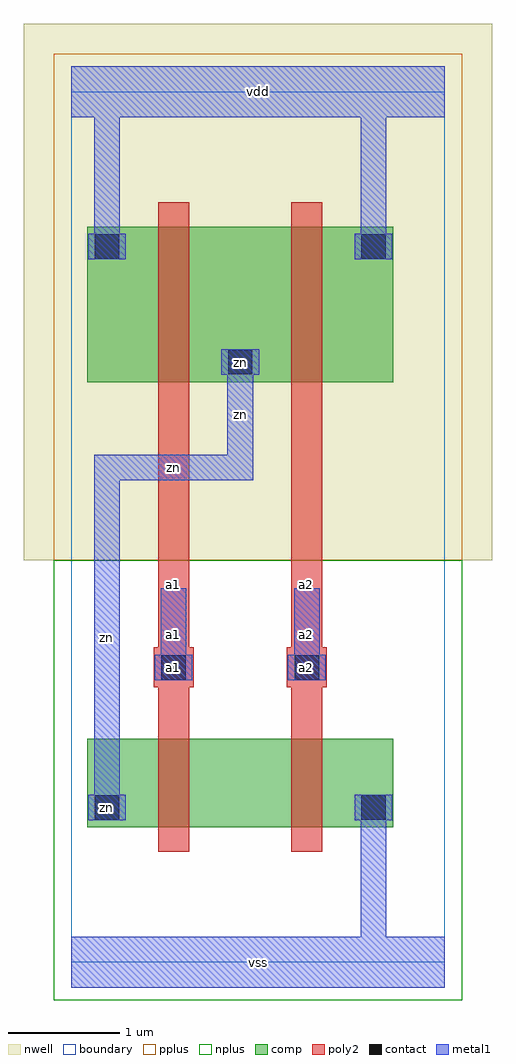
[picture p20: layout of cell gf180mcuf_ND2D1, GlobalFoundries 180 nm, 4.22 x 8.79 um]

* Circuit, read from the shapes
.subckt gf180mcuf_ND2D1 a1 a2 vdd vss zn
XM1 n1 a1 zn VSUBS nfet_03v3 w=0.8u l=0.28u
XM2 vss a2 n1 VSUBS nfet_03v3 w=0.8u l=0.28u
XM3 zn a1 vdd n2 pfet_03v3 w=1.4u l=0.28u
XM4 vdd a2 zn n2 pfet_03v3 w=1.4u l=0.28u
.ends

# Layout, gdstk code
import gdstk
lib = gdstk.Library(unit=1e-6, precision=1e-09)
def R(c, l, rs):  # rectangles x0, y0, x1, y1
    for r in rs: c.add(gdstk.rectangle(r[:2], r[2:], *l))
boundary = (0, 0)
nwell = (21, 0)
comp = (22, 0)
poly2 = (30, 0)
pplus = (31, 0)
nplus = (32, 0)
contact = (33, 0)
metal1 = (34, 0)

gf180mcuf_nd2d1 = lib.new_cell('gf180mcuf_ND2D1')
R(gf180mcuf_nd2d1, boundary, [(0,0,3.36,7.84)])
R(gf180mcuf_nd2d1, nwell, [(-0.43,3.62,3.79,8.45)])
R(gf180mcuf_nd2d1, comp, [(0.14,1.215,1.7,2.015), (0.14,1.215,0.5,1.575), (1.34,1.215,2.9,2.015), (2.54,1.215,2.9,1.575), (0.14,5.225,1.7,6.625), (1.34,5.225,2.9,6.625), (1.34,5.225,1.7,5.585), (0.14,6.265,0.5,6.625), (2.54,6.265,2.9,6.625)])
R(gf180mcuf_nd2d1, poly2, [(0.78,0.995,1.06,2.235), (1.98,0.995,2.26,2.235), (0.78,1.255,1.06,5.545), (1.98,1.255,2.26,5.545), (0.74,2.475,1.1,2.835), (1.94,2.475,2.3,2.835), (0.78,5.005,1.06,6.845), (1.98,5.005,2.26,6.845)])
R(gf180mcuf_nd2d1, pplus, [(-0.16,3.62,3.52,7.5), (-0.16,7.5,3.52,8.18)])
R(gf180mcuf_nd2d1, nplus, [(-0.16,-0.34,3.52,0.34), (-0.16,0.34,3.52,3.62)])
R(gf180mcuf_nd2d1, contact, [(0.21,1.285,0.43,1.505), (2.61,1.285,2.83,1.505), (0.81,2.545,1.03,2.765), (2.01,2.545,2.23,2.765), (1.41,5.295,1.63,5.515), (0.21,6.335,0.43,6.555), (2.61,6.335,2.83,6.555)])
R(gf180mcuf_nd2d1, metal1, [(0,-0.23,3.36,0.23), (2.605,0.065,2.835,1.51), (0.15,1.28,0.49,1.51), (0.205,1.28,0.435,4.57), (2.55,1.28,2.89,1.51), (0.75,2.54,1.09,2.77), (0.805,2.54,1.035,3.37), (1.95,2.54,2.29,2.77), (2.005,2.54,2.235,3.37), (0.205,4.34,1.635,4.57), (1.405,4.34,1.635,5.52), (1.35,5.29,1.69,5.52), (0.15,6.33,0.49,6.56), (0.205,6.33,0.435,7.775), (2.55,6.33,2.89,6.56), (2.605,6.33,2.835,7.775), (0,7.61,3.36,8.07)])
gf180mcuf_nd2d1.add(gdstk.FlexPath([(0.14,0.575),(2.9,0.575)], 0, ends="flush", simple_path=True, layer=0, datatype=0))  # boundary
gf180mcuf_nd2d1.add(gdstk.FlexPath([(0.14,1.395),(2.9,1.395)], 0, ends="flush", simple_path=True, layer=0, datatype=0))  # boundary
gf180mcuf_nd2d1.add(gdstk.FlexPath([(0.14,2.655),(2.9,2.655)], 0, ends="flush", simple_path=True, layer=0, datatype=0))  # boundary
gf180mcuf_nd2d1.add(gdstk.FlexPath([(0.14,3.255),(2.9,3.255)], 0, ends="flush", simple_path=True, layer=0, datatype=0))  # boundary
gf180mcuf_nd2d1.add(gdstk.FlexPath([(0.14,3.855),(2.9,3.855)], 0, ends="flush", simple_path=True, layer=0, datatype=0))  # boundary
gf180mcuf_nd2d1.add(gdstk.FlexPath([(0.14,4.455),(2.9,4.455)], 0, ends="flush", simple_path=True, layer=0, datatype=0))  # boundary
gf180mcuf_nd2d1.add(gdstk.FlexPath([(0.14,5.405),(2.9,5.405)], 0, ends="flush", simple_path=True, layer=0, datatype=0))  # boundary
gf180mcuf_nd2d1.add(gdstk.FlexPath([(0.14,6.445),(2.9,6.445)], 0, ends="flush", simple_path=True, layer=0, datatype=0))  # boundary
gf180mcuf_nd2d1.add(gdstk.FlexPath([(0.14,7.265),(2.9,7.265)], 0, ends="flush", simple_path=True, layer=0, datatype=0))  # boundary
gf180mcuf_nd2d1.add(gdstk.FlexPath([(0.32,0.065),(0.32,7.775)], 0, ends="flush", simple_path=True, layer=0, datatype=0))  # boundary
gf180mcuf_nd2d1.add(gdstk.FlexPath([(0.92,0.065),(0.92,7.775)], 0, ends="flush", simple_path=True, layer=0, datatype=0))  # boundary
gf180mcuf_nd2d1.add(gdstk.FlexPath([(1.52,0.065),(1.52,7.775)], 0, ends="flush", simple_path=True, layer=0, datatype=0))  # boundary
gf180mcuf_nd2d1.add(gdstk.FlexPath([(2.12,0.065),(2.12,7.775)], 0, ends="flush", simple_path=True, layer=0, datatype=0))  # boundary
gf180mcuf_nd2d1.add(gdstk.FlexPath([(2.72,0.065),(2.72,7.775)], 0, ends="flush", simple_path=True, layer=0, datatype=0))  # boundary
gf180mcuf_nd2d1.add(gdstk.Label('zn', (0.32,1.395), layer=22, texttype=0))
gf180mcuf_nd2d1.add(gdstk.Label('zn', (1.52,5.405), layer=22, texttype=0))
gf180mcuf_nd2d1.add(gdstk.Label('a1', (0.92,3.4), layer=30, texttype=0))
gf180mcuf_nd2d1.add(gdstk.Label('a1', (0.92,2.655), layer=30, texttype=0))
gf180mcuf_nd2d1.add(gdstk.Label('a2', (2.12,3.4), layer=30, texttype=0))
gf180mcuf_nd2d1.add(gdstk.Label('a2', (2.12,2.655), layer=30, texttype=0))
gf180mcuf_nd2d1.add(gdstk.Label('zn', (0.32,1.395), layer=33, texttype=0))
gf180mcuf_nd2d1.add(gdstk.Label('zn', (1.52,5.405), layer=33, texttype=0))
gf180mcuf_nd2d1.add(gdstk.Label('a1', (0.92,2.655), layer=33, texttype=0))
gf180mcuf_nd2d1.add(gdstk.Label('a2', (2.12,2.655), layer=33, texttype=0))
gf180mcuf_nd2d1.add(gdstk.Label('zn', (0.32,1.395), layer=34, texttype=10))
gf180mcuf_nd2d1.add(gdstk.Label('zn', (1.52,5.405), layer=34, texttype=10))
gf180mcuf_nd2d1.add(gdstk.Label('zn', (0.32,2.925), layer=34, texttype=10))
gf180mcuf_nd2d1.add(gdstk.Label('zn', (0.92,4.455), layer=34, texttype=10))
gf180mcuf_nd2d1.add(gdstk.Label('zn', (1.52,4.93), layer=34, texttype=10))
gf180mcuf_nd2d1.add(gdstk.Label('a1', (0.92,2.655), layer=34, texttype=10))
gf180mcuf_nd2d1.add(gdstk.Label('a1', (0.92,2.955), layer=34, texttype=10))
gf180mcuf_nd2d1.add(gdstk.Label('a2', (2.12,2.655), layer=34, texttype=10))
gf180mcuf_nd2d1.add(gdstk.Label('a2', (2.12,2.955), layer=34, texttype=10))
gf180mcuf_nd2d1.add(gdstk.Label('vss', (1.68,0), layer=34, texttype=10))
gf180mcuf_nd2d1.add(gdstk.Label('vdd', (1.68,7.84), layer=34, texttype=10))

lib.write_gds('gf180mcuf_ND2D1.gds')
